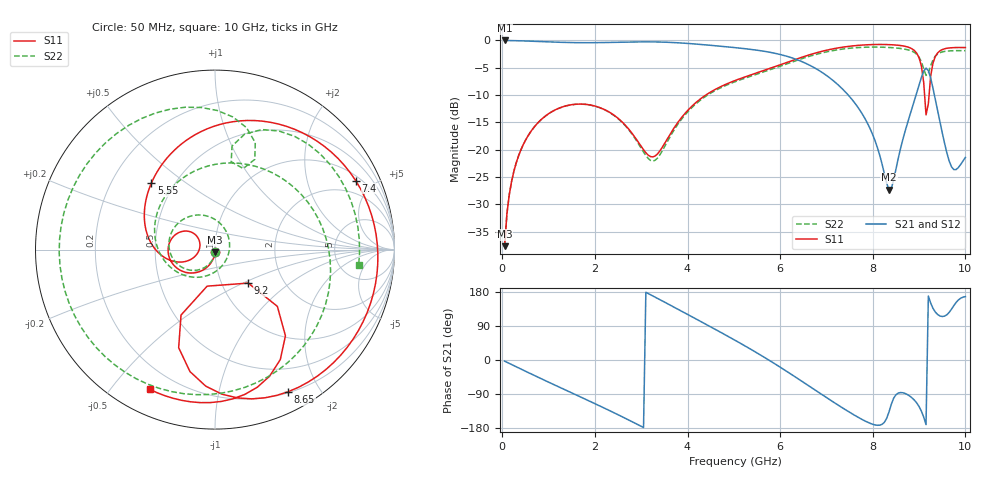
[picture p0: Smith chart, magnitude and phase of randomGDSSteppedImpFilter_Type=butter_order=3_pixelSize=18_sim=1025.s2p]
! freq	dB(S11)	phase(S11)	dB(S12)	phase(S12)
!  dB(S21)	phase(S21)	dB(S22)	phase(S22)
!S-par simulation data
#  GHz  S  DB  R 50
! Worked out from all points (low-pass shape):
!   200 points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, 50 MHz to 10 GHz, reference 50 ohm
!   highest |S21| = -0.01 dB at 50 MHz (marker M1); lowest = -27.3 dB at 8.35 GHz (marker M2)
!   |S21| within 3 dB of the highest: start of sweep to 6.186 GHz
!   lowest |S11| = -37.7 dB at 50 MHz (marker M3), VSWR 1.03, Z = 50 - j1.31 ohm
!   |S11| at or under -10 dB: start of sweep to 4.396 GHz; 9.119 GHz to 9.216 GHz (96.66 MHz wide, 1.05 % of centre)
!   |S22| runs from -37.7 to -1.2 dB; largest |S21 - S12| = 0
!   S11 on the Smith chart (normalised r, x): 50 MHz: 1.00, -0.03; 5.55 GHz: 0.37, +0.38; 7.4 GHz: 1.22, +3.95; 8.65 GHz: 0.21, -1.62; 9.2 GHz: 1.33, -0.53; 10 GHz: 0.11, -0.63
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0.05  -37.65 -88.8  -0.01 -3.0  -0.01 -3.0  -37.66 -89.2
0.2  -25.83 -100.5  -0.04 -11.9  -0.04 -11.9  -25.85 -102.2
0.5  -18.28 -117.8  -0.11 -29.6  -0.11 -29.6  -18.30 -122.0
1.75  -11.67 178.3  -0.43 -100.9  -0.43 -100.9  -11.68 158.7
2.7  -15.94 143.3  -0.30 -156.5  -0.30 -156.5  -16.05 84.1
3.4  -20.27 -169.9  -0.30 159.5  -0.30 159.5  -20.98 -53.5
4.25  -10.90 -171.2  -0.72 104.0  -0.72 104.0  -11.12 -163.1
5.05  -7.27 155.4  -1.35 50.5  -1.35 50.5  -7.49 123.7
5.55  -5.80 133.7  -1.86 15.1  -1.86 15.1  -6.03 74.4
6.2  -3.87 102.1  -3.05 -34.6  -3.05 -34.6  -4.12 5.7
6.7  -2.47 72.8  -4.83 -74.9  -4.83 -74.9  -2.74 -47.1
7.4  -1.18 26.1  -9.36 -130.5  -9.36 -130.5  -1.53 -116.6
7.9  -0.80 -8.5  -15.41 -164.9  -15.41 -164.9  -1.24 -164.4
8.35  -0.78 -40.1  -27.34 -137.2  -27.34 -137.2  -1.30 151.2
8.65  -1.01 -62.8  -18.11 -86.4  -18.11 -86.4  -1.54 119.2
9.05  -4.69 -110.3  -6.77 -135.0  -6.77 -135.0  -3.92 69.4
9.15  -13.63 -102.2  -5.08 -170.4  -5.08 -170.4  -6.41 70.8
9.2  -11.61 -45.3  -5.52 168.7  -5.52 168.7  -6.06 79.6
9.3  -4.15 -50.7  -8.76 136.5  -8.76 136.5  -3.55 75.6
9.5  -1.68 -78.4  -16.90 114.8  -16.90 114.8  -2.11 48.4
9.75  -1.32 -99.0  -23.65 143.5  -23.65 143.5  -1.89 19.4
10  -1.32 -115.1  -21.42 167.3  -21.42 167.3  -1.88 -6.2
